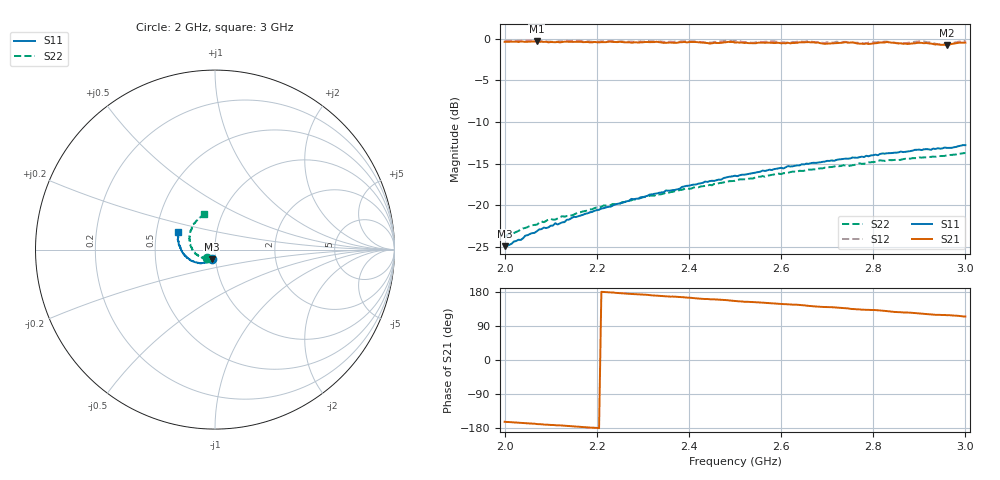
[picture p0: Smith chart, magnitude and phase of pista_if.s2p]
!Agilent Technologies,E8364A,US41440144,A.06.04.32
!Agilent E8364A: A.06.04.32
!Date: Monday, February 05, 2018 12:08:47
!Correction: S11(Full 2 Port(1,2)) S21(Full 2 Port(1,2)) S12(Full 2 Port(1,2)) S22(Full 2 Port(1,2))
!S2P File: Measurements: S11, S21, S12, S22:
# Hz S  dB  R 50
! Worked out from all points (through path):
!   201 points, 2 GHz to 3 GHz, reference 50 ohm
!   highest |S21| = -0.31 dB at 2.07 GHz (marker M1); lowest = -0.7 dB at 2.96 GHz (marker M2)
!   group delay of S21, straight-line fit = 228 ps
!   lowest |S11| = -24.9 dB at 2 GHz (marker M3), VSWR 1.12, Z = 47.9 - j5.12 ohm
!   |S11| at or under -10 dB: start of sweep to end of sweep
!   |S22| runs from -23.8 to -13.7 dB; largest |S21 - S12| = 0.032
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2e9  -24.93 -109.7  -0.36 -163.0  -0.24 -162.7  -23.84 -135.6
2.07e9  -23.14 -114.6  -0.31 -169.1  -0.28 -169.0  -22.35 -144.0
2.17e9  -21.16 -124.2  -0.40 -177.0  -0.27 -176.9  -20.76 -154.1
2.335e9  -18.52 -141.1  -0.40 169.4  -0.31 169.6  -18.71 -172.9
2.42e9  -17.43 -149.6  -0.40 162.2  -0.34 162.2  -17.86 177.5
2.465e9  -16.92 -153.5  -0.50 159.2  -0.31 160.2  -17.36 172.6
2.5e9  -16.46 -157.8  -0.45 155.8  -0.24 155.8  -17.07 168.0
2.54e9  -16.14 -160.9  -0.51 152.8  -0.46 153.5  -16.78 164.0
2.58e9  -15.77 -165.1  -0.48 149.3  -0.27 150.0  -16.35 159.3
2.6e9  -15.51 -167.4  -0.54 147.5  -0.41 147.5  -16.27 156.8
2.635e9  -15.22 -170.0  -0.48 145.8  -0.34 145.7  -15.99 152.5
2.67e9  -14.90 -173.8  -0.41 141.7  -0.39 141.8  -15.69 148.4
2.715e9  -14.67 -178.1  -0.53 138.9  -0.44 139.5  -15.37 143.3
2.745e9  -14.42 179.0  -0.47 136.1  -0.39 135.8  -15.30 139.1
2.785e9  -14.06 174.7  -0.55 132.4  -0.54 133.6  -14.99 134.6
2.835e9  -13.75 170.0  -0.43 128.2  -0.39 128.6  -14.58 127.9
2.87e9  -13.59 167.5  -0.57 125.4  -0.52 126.2  -14.42 124.0
2.89e9  -13.35 165.2  -0.54 123.9  -0.35 125.3  -14.34 121.7
2.91e9  -13.28 162.6  -0.53 121.8  -0.30 122.3  -14.25 119.2
2.935e9  -13.24 160.5  -0.68 119.2  -0.58 119.3  -14.19 116.2
2.96e9  -13.12 158.0  -0.72 118.2  -0.64 119.0  -14.00 112.9
3e9  -12.79 154.4  -0.45 114.7  -0.24 114.9  -13.73 107.6
